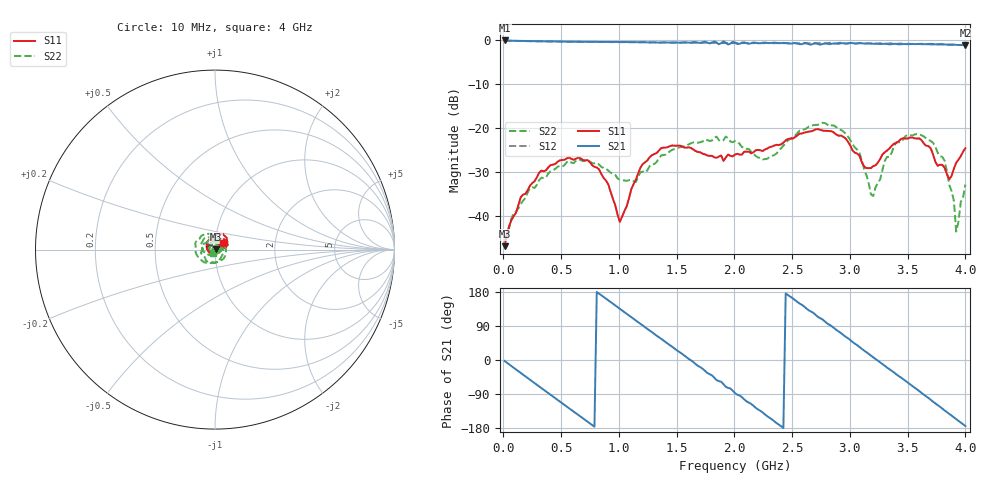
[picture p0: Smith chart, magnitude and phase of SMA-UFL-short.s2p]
! 9/28/2016 11:55:59 AM
! C:\USERS\ANRITSUUSER\DESKTOP\SWITCHES\SMA-UFL-SHORT.S2P
! CHANNEL.1
! TR.MEASUREMENT
! CORRECTED.DATA
# GHZ S RI R 50.0
! FREQ.GHZ  S11RE  S11IM  S21RE  S21IM  S12RE  S12IM  S22RE  S22IM
!; PortSelection: Port_12
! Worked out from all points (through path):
!   201 points, 10 MHz to 4 GHz, reference 50 ohm
!   highest |S21| = -0.02 dB at 10 MHz (marker M1); lowest = -1.1 dB at 4 GHz (marker M2)
!   group delay of S21, straight-line fit = 618 ps
!   lowest |S11| = -46.8 dB at 10 MHz (marker M3), VSWR 1.01, Z = 50.4 + j0.176 ohm
!   |S11| at or under -10 dB: start of sweep to end of sweep
!   |S22| runs from -45.6 to -18.8 dB; largest |S21 - S12| = 0.051
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0.01  0.0042 0.00175  0.9966 -0.0438  0.9965 -0.05  0.00497 0.00161
0.14965  0.00772 -0.0145  0.8152 -0.5533  0.8144 -0.5509  0.00627 -0.0122
0.34915  -0.0237 -0.022  0.1901 -0.9563  0.1919 -0.9539  -0.0254 -0.00933
0.6883  -0.0151 0.0408  -0.866 -0.4222  -0.8631 -0.4243  0.0137 0.0399
0.8878  0.0185 0.0173  -0.9128 0.2993  -0.9113 0.2961  0.0339 -0.00699
1.0075  0.00588 -0.00626  -0.6809 0.6733  -0.6813 0.6705  0.00566 -0.0253
1.1671  -0.0298 -0.00725  -0.1584 0.9387  -0.1612 0.9387  -0.0279 0.00185
1.34665  -0.0464 0.0311  0.4708 0.8159  0.4724 0.818  0.00692 0.0455
1.66585  -0.0046 0.0547  0.9376 -0.1846  0.926 -0.169  0.0422 -0.0552
2.005  -0.0108 0.0491  0.0402 -0.9463  0.0731 -0.9295  -0.0682 0.0214
2.1646  -0.00639 0.0529  -0.4837 -0.812  -0.4726 -0.8015  -0.000805 0.051
2.3641  -0.00718 0.0644  -0.9094 -0.2206  -0.9003 -0.2414  0.04 -0.0324
2.6833  0.0339 0.0876  -0.5158 0.7534  -0.5215 0.775  -0.1073 -0.0164
2.94265  0.0692 0.0401  0.378 0.8483  0.3899 0.8378  -0.0257 0.0883
3.202  0.0188 0.0319  0.9081 0.1131  0.9114 0.1166  0.0113 -0.0126
3.34165  0.0243 0.0536  0.8223 -0.3692  0.8463 -0.3703  -0.0424 -0.0205
3.5212  0.0635 0.0461  0.3977 -0.8172  0.3893 -0.8258  -0.0742 0.0375
3.6808  0.062 0.00946  -0.1636 -0.896  -0.1742 -0.8868  -0.0248 0.0698
3.82045  0.0331 0.0127  -0.6153 -0.6551  -0.6077 -0.6551  0.0107 0.0411
3.90025  0.026 0.0229  -0.786 -0.4274  -0.7838 -0.4281  0.0099 0.0111
3.9202  0.0274 0.0298  -0.813 -0.3602  -0.8125 -0.3602  0.00607 0.00276
4  0.0446 0.039  -0.8776 -0.0876  -0.8831 -0.082  -0.0131 -0.0188
